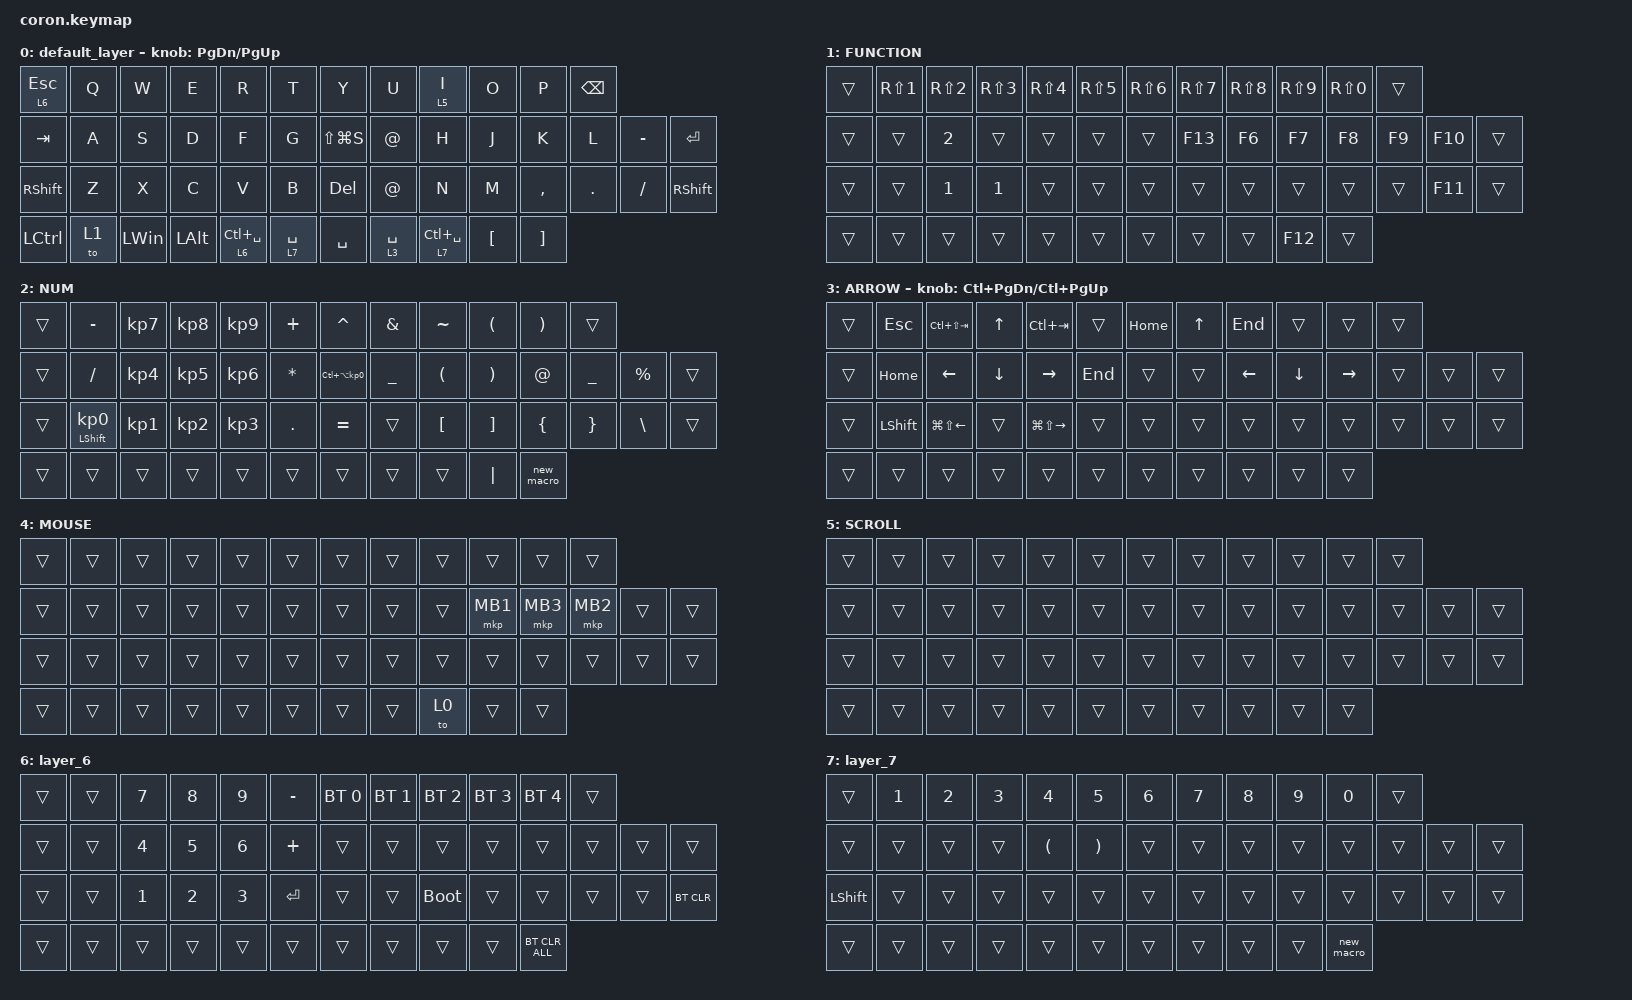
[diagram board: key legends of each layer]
/* coron.keymap */

#include <behaviors.dtsi>
#include <dt-bindings/zmk/bt.h>
#include <dt-bindings/zmk/keys.h>
#include <dt-bindings/zmk/pointing.h>

&mt {
    flavor = "balanced";
    quick-tap-ms = <0>;
};

&trackball {
    automouse-layer = <4>;
    scroll-layers = <5>;
};

/ {
    combos {
        compatible = "zmk,combos";

        /* Note: Key positions have shifted due to added columns. 
           You will need to recalculate these indices later. */

        tab {
            bindings = <&kp TAB>;
            key-positions = <11 12>;
        };

        shift_tab {
            bindings = <&kp LS(TAB)>;
            key-positions = <12 13>;
        };

        muhennkann {
            bindings = <&to_layer_0 INT_MUHENKAN>;
            key-positions = <11 10>;
        };

        double_quotation {
            bindings = <&kp DOUBLE_QUOTES>;
            key-positions = <20 21>;
        };

        eq {
            bindings = <&kp EQUAL>;
            key-positions = <24 25>;
        };

        shift1 {
            bindings = <&kp RS(NUMBER_1)>;
            key-positions = <39 1>;
        };
    };

    macros {
        to_layer_0: to_layer_0 {
            compatible = "zmk,behavior-macro-one-param";
            #binding-cells = <1>;
            bindings = <&to 0 &macro_param_1to1 &kp MACRO_PLACEHOLDER>;
            label = "TO_LAYER_0";
        };

        new_macro: new_macro {
            compatible = "zmk,behavior-macro";
            #binding-cells = <0>;
            bindings = <&none &kp N6 &kp LS(T) &kp E &kp LS(M) &kp L &kp N8 &kp LS(P) &kp C &kp AT &kp AT>;
            label = "NEW_MACRO";
        };
    };

    behaviors {
        lt_to_layer_0: lt_to_layer_0 {
            compatible = "zmk,behavior-hold-tap";
            label = "LAYER_TAP_TO_0";
            bindings = <&mo>, <&to_layer_0>;

            #binding-cells = <2>;
            tapping-term-ms = <200>;
        };
    };

    keymap {
        compatible = "zmk,keymap";

        default_layer {
            bindings = <
&lt_to_layer_0 6 ESCAPE  &kp Q  &kp W         &kp E         &kp R                       &kp T                   &kp Y          &kp U                   &lt 5 I                     &kp O             &kp P              &kp BACKSPACE
&kp TAB                  &kp A  &kp S         &kp D         &kp F                       &kp G                   &kp LS(LG(S))  &kp AT                  &kp H                       &kp J             &kp K              &kp L          &kp MINUS  &kp ENTER
&kp RIGHT_SHIFT          &kp Z  &kp X         &kp C         &kp V                       &kp B                   &kp DEL        &kp AT                  &kp N                       &kp M             &kp COMMA          &kp DOT        &kp SLASH  &kp RIGHT_SHIFT
&kp LEFT_CONTROL         &to 1  &kp LEFT_WIN  &kp LEFT_ALT  &lt_to_layer_0 6 LC(SPACE)  &lt_to_layer_0 7 SPACE  &kp SPACE      &lt_to_layer_0 3 SPACE  &lt_to_layer_0 7 LC(SPACE)  &kp LEFT_BRACKET  &kp RIGHT_BRACKET
            >;

            sensor-bindings = <&inc_dec_kp PAGE_DOWN PAGE_UP>;
        };

        FUNCTION {
            bindings = <
&trans  &kp RS(NUMBER_1)  &kp RS(NUMBER_2)  &kp RS(NUMBER_3)  &kp RS(NUMBER_4)  &kp RS(N5)  &kp RS(NUMBER_6)  &kp RS(N7)  &kp RS(N8)  &kp RS(N9)  &kp RS(N0)  &trans
&trans  &trans            &kp NUMBER_2      &trans            &trans            &trans      &trans            &kp F13     &kp F6      &kp F7      &kp F8      &kp F9  &kp F10  &trans
&trans  &trans            &kp NUMBER_1      &kp NUMBER_1      &trans            &trans      &trans            &trans      &trans      &trans      &trans      &trans  &kp F11  &trans
&trans  &trans            &trans            &trans            &trans            &trans      &trans            &trans      &trans      &kp F12     &trans
            >;
        };

        NUM {
            bindings = <
&trans  &kp MINUS                   &kp KP_NUMBER_7  &kp KP_NUMBER_8  &kp KP_NUMBER_9  &kp PLUS      &kp CARET                &kp AMPERSAND   &kp TILDE             &kp LEFT_PARENTHESIS   &kp RIGHT_PARENTHESIS  &trans
&trans  &kp SLASH                   &kp KP_NUMBER_4  &kp KP_NUMBER_5  &kp KP_NUMBER_6  &kp ASTERISK  &kp LC(LA(KP_NUMBER_0))  &kp UNDERSCORE  &kp LEFT_PARENTHESIS  &kp RIGHT_PARENTHESIS  &kp AT_SIGN            &kp UNDERSCORE   &kp PERCENT    &trans
&trans  &mt LEFT_SHIFT KP_NUMBER_0  &kp KP_NUMBER_1  &kp KP_NUMBER_2  &kp KP_NUMBER_3  &kp PERIOD    &kp EQUAL                &trans          &kp LEFT_BRACKET      &kp RIGHT_BRACKET      &kp LEFT_BRACE         &kp RIGHT_BRACE  &kp BACKSLASH  &trans
&trans  &trans                      &trans           &trans           &trans           &trans        &trans                   &trans          &trans                &kp PIPE               &new_macro
            >;
        };

        ARROW {
            bindings = <
&trans  &kp ESCAPE      &kp LC(LS(TAB))         &kp UP_ARROW    &kp LC(TAB)              &trans   &kp HOME  &kp UP_ARROW  &kp END   &trans    &trans     &trans
&trans  &kp HOME        &kp LEFT_ARROW          &kp DOWN_ARROW  &kp RIGHT_ARROW          &kp END  &trans    &trans        &kp LEFT  &kp DOWN  &kp RIGHT  &trans  &trans  &trans
&trans  &kp LEFT_SHIFT  &kp LG(LS(LEFT_ARROW))  &trans          &kp LG(LS(RIGHT_ARROW))  &trans   &trans    &trans        &trans    &trans    &trans     &trans  &trans  &trans
&trans  &trans          &trans                  &trans          &trans                   &trans   &trans    &trans        &trans    &trans    &trans
            >;

            sensor-bindings = <&inc_dec_kp LC(PG_DN) LC(PG_UP)>;
        };

        MOUSE {
            bindings = <
&trans  &trans  &trans  &trans  &trans  &trans  &trans  &trans  &trans  &trans    &trans    &trans
&trans  &trans  &trans  &trans  &trans  &trans  &trans  &trans  &trans  &mkp MB1  &mkp MB3  &mkp MB2  &trans  &trans
&trans  &trans  &trans  &trans  &trans  &trans  &trans  &trans  &trans  &trans    &trans    &trans    &trans  &trans
&trans  &trans  &trans  &trans  &trans  &trans  &trans  &trans  &to 0   &trans    &trans
            >;
        };

        SCROLL {
            bindings = <
&trans  &trans  &trans  &trans  &trans  &trans  &trans  &trans  &trans  &trans  &trans  &trans
&trans  &trans  &trans  &trans  &trans  &trans  &trans  &trans  &trans  &trans  &trans  &trans  &trans  &trans
&trans  &trans  &trans  &trans  &trans  &trans  &trans  &trans  &trans  &trans  &trans  &trans  &trans  &trans
&trans  &trans  &trans  &trans  &trans  &trans  &trans  &trans  &trans  &trans  &trans
            >;
        };

        layer_6 {
            bindings = <
&trans  &trans  &kp N7        &kp N8        &kp N9        &kp MINUS  &bt BT_SEL 0  &bt BT_SEL 1  &bt BT_SEL 2  &bt BT_SEL 3  &bt BT_SEL 4    &trans
&trans  &trans  &kp NUMBER_4  &kp N5        &kp NUMBER_6  &kp PLUS   &trans        &trans        &trans        &trans        &trans          &trans  &trans  &trans
&trans  &trans  &kp NUMBER_1  &kp NUMBER_2  &kp NUMBER_3  &kp ENTER  &trans        &trans        &bootloader   &trans        &trans          &trans  &trans  &bt BT_CLR
&trans  &trans  &trans        &trans        &trans        &trans     &trans        &trans        &trans        &trans        &bt BT_CLR_ALL
            >;
        };

        layer_7 {
            bindings = <
&trans          &kp NUMBER_1  &kp NUMBER_2  &kp NUMBER_3  &kp NUMBER_4          &kp N5                 &kp NUMBER_6  &kp N7  &kp N8  &kp N9  &kp N0      &trans
&trans          &trans        &trans        &trans        &kp LEFT_PARENTHESIS  &kp RIGHT_PARENTHESIS  &trans        &trans  &trans  &trans  &trans      &trans  &trans  &trans
&kp LEFT_SHIFT  &trans        &trans        &trans        &trans                &trans                 &trans        &trans  &trans  &trans  &trans      &trans  &trans  &trans
&trans          &trans        &trans        &trans        &trans                &trans                 &trans        &trans  &trans  &trans  &new_macro
            >;
        };
    };
};
